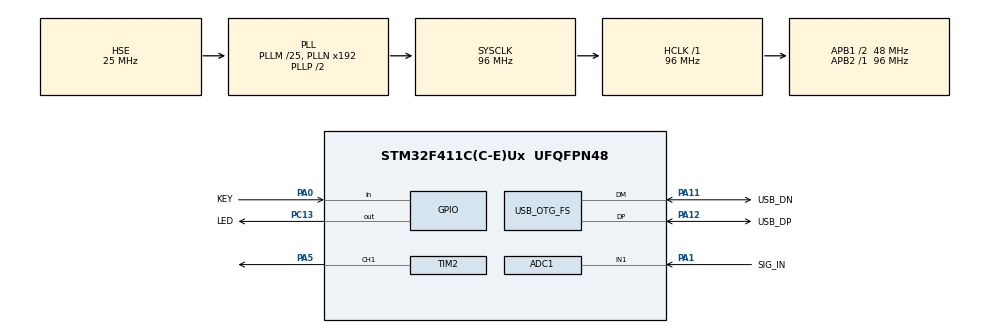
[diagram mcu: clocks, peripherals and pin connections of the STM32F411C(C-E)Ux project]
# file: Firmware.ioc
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ADC1.Channel-0\#ChannelRegularConversion=ADC_CHANNEL_1
ADC1.ExternalTrigConv=ADC_EXTERNALTRIGCONV_T2_TRGO
ADC1.NbrOfConversionFlag=1
ADC1.Rank-0\#ChannelRegularConversion=1
ADC1.SamplingTime-0\#ChannelRegularConversion=ADC_SAMPLETIME_84CYCLES
ADC1.master=1
Dma.ADC1.0.Direction=DMA_PERIPH_TO_MEMORY
Dma.ADC1.0.FIFOMode=DMA_FIFOMODE_DISABLE
Dma.ADC1.0.Instance=DMA2_Stream0
Dma.ADC1.0.MemDataAlignment=DMA_MDATAALIGN_HALFWORD
Dma.ADC1.0.MemInc=DMA_MINC_ENABLE
Dma.ADC1.0.Mode=DMA_NORMAL
Dma.ADC1.0.PeriphDataAlignment=DMA_PDATAALIGN_HALFWORD
Dma.ADC1.0.PeriphInc=DMA_PINC_DISABLE
Dma.ADC1.0.Priority=DMA_PRIORITY_LOW
Dma.Request0=ADC1
Mcu.Family=STM32F4
Mcu.Name=STM32F411C(C-E)Ux
Mcu.Package=UFQFPN48
NVIC.ADC_IRQn=true\:0\:0\:false\:false\:true\:true\:true\:true
NVIC.DMA2_Stream0_IRQn=true\:0\:0\:false\:false\:true\:false\:true\:true
NVIC.OTG_FS_IRQn=true\:0\:0\:false\:false\:true\:false\:true\:true
NVIC.PriorityGroup=NVIC_PRIORITYGROUP_4
PA0-WKUP.GPIO_Label=KEY
PA0-WKUP.GPIO_PuPd=GPIO_PULLUP
PA0-WKUP.Signal=GPIO_Input
PA1.GPIO_Label=SIG_IN
PA1.Signal=ADCx_IN1
PA11.GPIO_Label=USB_DN
PA11.Mode=Device_Only
PA11.Signal=USB_OTG_FS_DM
PA12.GPIO_Label=USB_DP
PA12.Mode=Device_Only
PA12.Signal=USB_OTG_FS_DP
PA13.GPIO_Label=SWIO
PA13.Mode=Serial_Wire
PA13.Signal=SYS_JTMS-SWDIO
PA14.GPIO_Label=SWCLK
PA14.Mode=Serial_Wire
PA14.Signal=SYS_JTCK-SWCLK
PA5.GPIO_Speed=GPIO_SPEED_FREQ_VERY_HIGH
PA5.Signal=S_TIM2_CH1_ETR
PC13-ANTI_TAMP.GPIO_Label=LED
PC13-ANTI_TAMP.Signal=GPIO_Output
PC14-OSC32_IN.Mode=LSE-External-Oscillator
PC14-OSC32_IN.Signal=RCC_OSC32_IN
PC15-OSC32_OUT.Mode=LSE-External-Oscillator
PC15-OSC32_OUT.Signal=RCC_OSC32_OUT
PH0\ -\ OSC_IN.Mode=HSE-External-Oscillator
PH0\ -\ OSC_IN.Signal=RCC_OSC_IN
PH1\ -\ OSC_OUT.Mode=HSE-External-Oscillator
PH1\ -\ OSC_OUT.Signal=RCC_OSC_OUT
ProjectManager.HeapSize=0x200
ProjectManager.StackSize=0x400
ProjectManager.TargetToolchain=STM32CubeIDE
RCC.48MHZClocksFreq_Value=48000000
RCC.AHBFreq_Value=96000000
RCC.APB1CLKDivider=RCC_HCLK_DIV2
RCC.APB1Freq_Value=48000000
RCC.APB1TimFreq_Value=96000000
RCC.APB2Freq_Value=96000000
RCC.APB2TimFreq_Value=96000000
RCC.CortexFreq_Value=96000000
RCC.EnbaleCSS=true
RCC.HCLKFreq_Value=96000000
RCC.HSE_VALUE=25000000
RCC.HSI_VALUE=16000000
RCC.PLLM=25
RCC.SYSCLKFreq_VALUE=96000000
RCC.SYSCLKSource=RCC_SYSCLKSOURCE_PLLCLK
RCC.VCOOutputFreq_Value=192000000
SH.ADCx_IN1.0=ADC1_IN1,IN1
SH.S_TIM2_CH1_ETR.0=TIM2_CH1,PWM Generation1 CH1
TIM2.Channel-PWM\ Generation1\ CH1=TIM_CHANNEL_1
TIM2.Period=2342
TIM2.Pulse-PWM\ Generation1\ CH1=100
TIM2.TIM_MasterOutputTrigger=TIM_TRGO_UPDATE
USB_DEVICE.APP_RX_DATA_SIZE=512
USB_DEVICE.APP_TX_DATA_SIZE=512
USB_DEVICE.CLASS_NAME_FS=CDC
USB_DEVICE.USBD_SELF_POWERED=0
USB_DEVICE.VirtualMode=Cdc
USB_DEVICE.VirtualModeFS=Cdc_FS
USB_OTG_FS.VirtualMode=Device_Only
VP_TIM2_VS_ClockSourceINT.Mode=Internal
VP_USB_DEVICE_VS_USB_DEVICE_CDC_FS.Mode=CDC_FS
board=custom

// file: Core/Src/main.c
/* USER CODE BEGIN Header */
/**
  ******************************************************************************
  * @file           : main.c
  * @brief          : Main program body
  ******************************************************************************
  * @attention
  *
  * Copyright (c) 2024 STMicroelectronics.
  * All rights reserved.
  *
  * This software is licensed under terms that can be found in the LICENSE file
  * in the root directory of this software component.
  * If no LICENSE file comes with this software, it is provided AS-IS.
  *
  ******************************************************************************
  */
/* USER CODE END Header */
#include "main.h"
#include "usb_device.h"

/* USER CODE BEGIN Includes */
#include "dmm_dsp.h"
#include <stdint.h>
/* USER CODE END Includes */

/* USER CODE BEGIN PM */
#define ADC_RESOLUTION 12
#define ADC_MAX_VALUE 4096
#define ADC_VREF 3.3f
#define ADC_R1 100000.0f
#define ADC_Rf 4700.0f
#define ADC_TO_VOLTAGE ((ADC_VREF / ADC_MAX_VALUE) * (-ADC_R1 / ADC_Rf))
#define ADC_OFFSET (((ADC_VREF / 2.0f) * ADC_Rf / ADC_R1) * (ADC_MAX_VALUE / ADC_VREF) + (ADC_MAX_VALUE / 2.0f))

typedef enum {
  ADC_NOT_READY = 0,
  ADC_BUSY = 1,
  ADC_ERROR = 2,
  ADC_SUCCESS = 3
} ADCStatus;
/* USER CODE END PM */

ADC_HandleTypeDef hadc1;
DMA_HandleTypeDef hdma_adc1;

TIM_HandleTypeDef htim2;

/* USER CODE BEGIN PV */
volatile uint16_t adcData[DMM_BUF_SIZE];
volatile ADCStatus adcStatus = ADC_NOT_READY;
/* USER CODE END PV */

void SystemClock_Config(void);
static void MX_GPIO_Init(void);
static void MX_DMA_Init(void);
static void MX_ADC1_Init(void);
static void MX_TIM2_Init(void);

/* USER CODE BEGIN 0 */
void HAL_ADC_ConvCpltCallback(ADC_HandleTypeDef* hadc) {
  HAL_ADC_Stop_DMA(&hadc1);
  adcStatus = ADC_SUCCESS;
}

void HAL_ADC_ErrorCallback(ADC_HandleTypeDef* hadc) {
  adcStatus = ADC_ERROR;
}

static void setSamplingFreq(const float f) {
  const float timFreq = ((float) HAL_RCC_GetPCLK1Freq()) * 2.0f;
  for (unsigned int prescaler = 0; prescaler < USHRT_MAX; prescaler++) {
    const float arrF = (timFreq / ((float) (prescaler + 1) * f)) - 1.0f;
    if ((arrF > 1.0f) && (arrF < (ULONG_MAX - 1.0f))) {
      __HAL_TIM_DISABLE(&htim2);
      __HAL_TIM_SET_COUNTER(&htim2, 0);
      __HAL_TIM_SET_PRESCALER(&htim2, prescaler);
      const uint32_t arr = (uint32_t) roundf(arrF);
      __HAL_TIM_SET_AUTORELOAD(&htim2, arr);
      __HAL_TIM_ENABLE(&htim2);
      return;
    }
  }
}

static float setMeasurementTime(const float t) {
  const float f = DMM_BUF_SIZE / t;
  setSamplingFreq(f);
  return f;
}

static void startSampling() {
  HAL_ADC_Start_DMA(&hadc1, (uint32_t*) adcData, DMM_BUF_SIZE);
  adcStatus = ADC_BUSY;
}
/* USER CODE END 0 */

int main(void)
{

  /* MCU Configuration--------------------------------------------------------*/

  /* Reset of all peripherals, Initializes the Flash interface and the Systick. */
  HAL_Init();

  /* Configure the system clock */
  SystemClock_Config();

  /* Initialize all configured peripherals */
  MX_GPIO_Init();
  MX_DMA_Init();
  MX_ADC1_Init();
  MX_USB_DEVICE_Init();
  MX_TIM2_Init();
  /* USER CODE BEGIN 2 */
  float samplingFreq = setMeasurementTime(0.1f);
  HAL_TIM_Base_Start(&htim2);
  //HAL_TIM_OC_Start(&htim2, TIM_CHANNEL_1);

  DMM_DSP_Init(RECT);
  /* USER CODE END 2 */

  /* Infinite loop */
  /* USER CODE BEGIN WHILE */
  while (1) {
    startSampling();
    while (adcStatus == ADC_BUSY) {}
    if (adcStatus != ADC_SUCCESS) continue;

    HAL_GPIO_WritePin(LED_GPIO_Port, LED_Pin, GPIO_PIN_SET);
    const uint32_t start = HAL_GetTick();

    DMM_DSP_AddADCData(adcData, ADC_OFFSET, ADC_TO_VOLTAGE);
    const float32_t* fft = DMM_DSP_Process();

    uint16_t peaks[FFT_PEAKS_MAX];
    const uint16_t peaksCount = DMM_DSP_FindPeaks(peaks);

    const uint16_t fundamentalIdx = DMM_DSP_FindFundamental(peaks, peaksCount);
    const float fundamental = DMM_DSP_IndexToFreq(fundamentalIdx, samplingFreq);
    const Waveform waveform = DMM_DSP_DetectWaveform(fundamentalIdx, peaks, peaksCount);

    printf(">W%d\n", (int) waveform);
    printf(">m%.3f\n", DMM_DSP_GetMin());
    printf(">M%.3f\n", DMM_DSP_GetMax());
    printf(">A%.3f\n", DMM_DSP_GetAvg());
    printf(">R%.3f\n", DMM_DSP_GetRMS());
    printf(">f%.3f\n", fundamental);
    printf(">T%.3f\n", 1000.0f / fundamental);
    printf(">a%.3f\n", 2.0f * fft[fundamentalIdx]);
    printf(">p%d\n", HAL_GetTick() - start);

    uint8_t c;
    int sampleTime;
    if (RingBuffer_Pop(&cdcRxRingBuff, &c) && (c == '>') &&
        RingBuffer_Pop(&cdcRxRingBuff, &c) && (c == 'S') &&
        RingBuffer_ReadInt(&cdcRxRingBuff, &sampleTime) && (sampleTime > 1) && (sampleTime < 2000)) {
      samplingFreq = setMeasurementTime((float) sampleTime / 1000.0f);
    }

    HAL_GPIO_WritePin(LED_GPIO_Port, LED_Pin, GPIO_PIN_RESET);
    HAL_Delay(100);
    /* USER CODE END WHILE */

  }
}

void SystemClock_Config(void)
{
  RCC_OscInitTypeDef RCC_OscInitStruct = {0};
  RCC_ClkInitTypeDef RCC_ClkInitStruct = {0};

  /** Configure the main internal regulator output voltage
  */
  __HAL_RCC_PWR_CLK_ENABLE();
  __HAL_PWR_VOLTAGESCALING_CONFIG(PWR_REGULATOR_VOLTAGE_SCALE1);

  /** Initializes the RCC Oscillators according to the specified parameters
  * in the RCC_OscInitTypeDef structure.
  */
  RCC_OscInitStruct.OscillatorType = RCC_OSCILLATORTYPE_HSE;
  RCC_OscInitStruct.HSEState = RCC_HSE_ON;
  RCC_OscInitStruct.PLL.PLLState = RCC_PLL_ON;
  RCC_OscInitStruct.PLL.PLLSource = RCC_PLLSOURCE_HSE;
  RCC_OscInitStruct.PLL.PLLM = 25;
  RCC_OscInitStruct.PLL.PLLN = 192;
  RCC_OscInitStruct.PLL.PLLP = RCC_PLLP_DIV2;
  RCC_OscInitStruct.PLL.PLLQ = 4;
  if (HAL_RCC_OscConfig(&RCC_OscInitStruct) != HAL_OK)
  {
    Error_Handler();
  }

  /** Initializes the CPU, AHB and APB buses clocks
  */
  RCC_ClkInitStruct.ClockType = RCC_CLOCKTYPE_HCLK|RCC_CLOCKTYPE_SYSCLK
                              |RCC_CLOCKTYPE_PCLK1|RCC_CLOCKTYPE_PCLK2;
  RCC_ClkInitStruct.SYSCLKSource = RCC_SYSCLKSOURCE_PLLCLK;
  RCC_ClkInitStruct.AHBCLKDivider = RCC_SYSCLK_DIV1;
  RCC_ClkInitStruct.APB1CLKDivider = RCC_HCLK_DIV2;
  RCC_ClkInitStruct.APB2CLKDivider = RCC_HCLK_DIV1;

  if (HAL_RCC_ClockConfig(&RCC_ClkInitStruct, FLASH_LATENCY_3) != HAL_OK)
  {
    Error_Handler();
  }

  /** Enables the Clock Security System
  */
  HAL_RCC_EnableCSS();
}

static void MX_ADC1_Init(void)
{

  ADC_ChannelConfTypeDef sConfig = {0};

  /** Configure the global features of the ADC (Clock, Resolution, Data Alignment and number of conversion)
  */
  hadc1.Instance = ADC1;
  hadc1.Init.ClockPrescaler = ADC_CLOCK_SYNC_PCLK_DIV4;
  hadc1.Init.Resolution = ADC_RESOLUTION_12B;
  hadc1.Init.ScanConvMode = DISABLE;
  hadc1.Init.ContinuousConvMode = DISABLE;
  hadc1.Init.DiscontinuousConvMode = DISABLE;
  hadc1.Init.ExternalTrigConvEdge = ADC_EXTERNALTRIGCONVEDGE_RISING;
  hadc1.Init.ExternalTrigConv = ADC_EXTERNALTRIGCONV_T2_TRGO;
  hadc1.Init.DataAlign = ADC_DATAALIGN_RIGHT;
  hadc1.Init.NbrOfConversion = 1;
  hadc1.Init.DMAContinuousRequests = DISABLE;
  hadc1.Init.EOCSelection = ADC_EOC_SINGLE_CONV;
  if (HAL_ADC_Init(&hadc1) != HAL_OK)
  {
    Error_Handler();
  }

  /** Configure for the selected ADC regular channel its corresponding rank in the sequencer and its sample time.
  */
  sConfig.Channel = ADC_CHANNEL_1;
  sConfig.Rank = 1;
  sConfig.SamplingTime = ADC_SAMPLETIME_84CYCLES;
  if (HAL_ADC_ConfigChannel(&hadc1, &sConfig) != HAL_OK)
  {
    Error_Handler();
  }

}

static void MX_TIM2_Init(void)
{

  TIM_ClockConfigTypeDef sClockSourceConfig = {0};
  TIM_MasterConfigTypeDef sMasterConfig = {0};
  TIM_OC_InitTypeDef sConfigOC = {0};

  htim2.Instance = TIM2;
  htim2.Init.Prescaler = 0;
  htim2.Init.CounterMode = TIM_COUNTERMODE_UP;
  htim2.Init.Period = 2342;
  htim2.Init.ClockDivision = TIM_CLOCKDIVISION_DIV1;
  htim2.Init.AutoReloadPreload = TIM_AUTORELOAD_PRELOAD_DISABLE;
  if (HAL_TIM_Base_Init(&htim2) != HAL_OK)
  {
    Error_Handler();
  }
  sClockSourceConfig.ClockSource = TIM_CLOCKSOURCE_INTERNAL;
  if (HAL_TIM_ConfigClockSource(&htim2, &sClockSourceConfig) != HAL_OK)
  {
    Error_Handler();
  }
  if (HAL_TIM_PWM_Init(&htim2) != HAL_OK)
  {
    Error_Handler();
  }
  sMasterConfig.MasterOutputTrigger = TIM_TRGO_UPDATE;
  sMasterConfig.MasterSlaveMode = TIM_MASTERSLAVEMODE_DISABLE;
  if (HAL_TIMEx_MasterConfigSynchronization(&htim2, &sMasterConfig) != HAL_OK)
  {
    Error_Handler();
  }
  sConfigOC.OCMode = TIM_OCMODE_PWM1;
  sConfigOC.Pulse = 100;
  sConfigOC.OCPolarity = TIM_OCPOLARITY_HIGH;
  sConfigOC.OCFastMode = TIM_OCFAST_DISABLE;
  if (HAL_TIM_PWM_ConfigChannel(&htim2, &sConfigOC, TIM_CHANNEL_1) != HAL_OK)
  {
    Error_Handler();
  }
  HAL_TIM_MspPostInit(&htim2);

}

static void MX_DMA_Init(void)
{

  /* DMA controller clock enable */
  __HAL_RCC_DMA2_CLK_ENABLE();

  /* DMA interrupt init */
  /* DMA2_Stream0_IRQn interrupt configuration */
  HAL_NVIC_SetPriority(DMA2_Stream0_IRQn, 0, 0);
  HAL_NVIC_EnableIRQ(DMA2_Stream0_IRQn);

}

static void MX_GPIO_Init(void)
{
  GPIO_InitTypeDef GPIO_InitStruct = {0};

  /* GPIO Ports Clock Enable */
  __HAL_RCC_GPIOC_CLK_ENABLE();
  __HAL_RCC_GPIOH_CLK_ENABLE();
  __HAL_RCC_GPIOA_CLK_ENABLE();

  /*Configure GPIO pin Output Level */
  HAL_GPIO_WritePin(LED_GPIO_Port, LED_Pin, GPIO_PIN_RESET);

  /*Configure GPIO pin : LED_Pin */
  GPIO_InitStruct.Pin = LED_Pin;
  GPIO_InitStruct.Mode = GPIO_MODE_OUTPUT_PP;
  GPIO_InitStruct.Pull = GPIO_NOPULL;
  GPIO_InitStruct.Speed = GPIO_SPEED_FREQ_LOW;
  HAL_GPIO_Init(LED_GPIO_Port, &GPIO_InitStruct);

  /*Configure GPIO pin : KEY_Pin */
  GPIO_InitStruct.Pin = KEY_Pin;
  GPIO_InitStruct.Mode = GPIO_MODE_INPUT;
  GPIO_InitStruct.Pull = GPIO_PULLUP;
  HAL_GPIO_Init(KEY_GPIO_Port, &GPIO_InitStruct);

}

/* USER CODE BEGIN 4 */
int _write(int file, char *ptr, int len) {
  // See https://github.com/alexeykosinov/Redirect-printf-to-USB-VCP-on-STM32H7-MCU
  if (!MX_USB_DEVICE_Connected())
    return 0;
  const uint8_t res = CDC_Transmit_FS((uint8_t*) ptr, len);
  return (res == USBD_OK) ? len : 0;
}
/* USER CODE END 4 */

void Error_Handler(void)
{
  __disable_irq();
  while (1)
  {
  }
}
